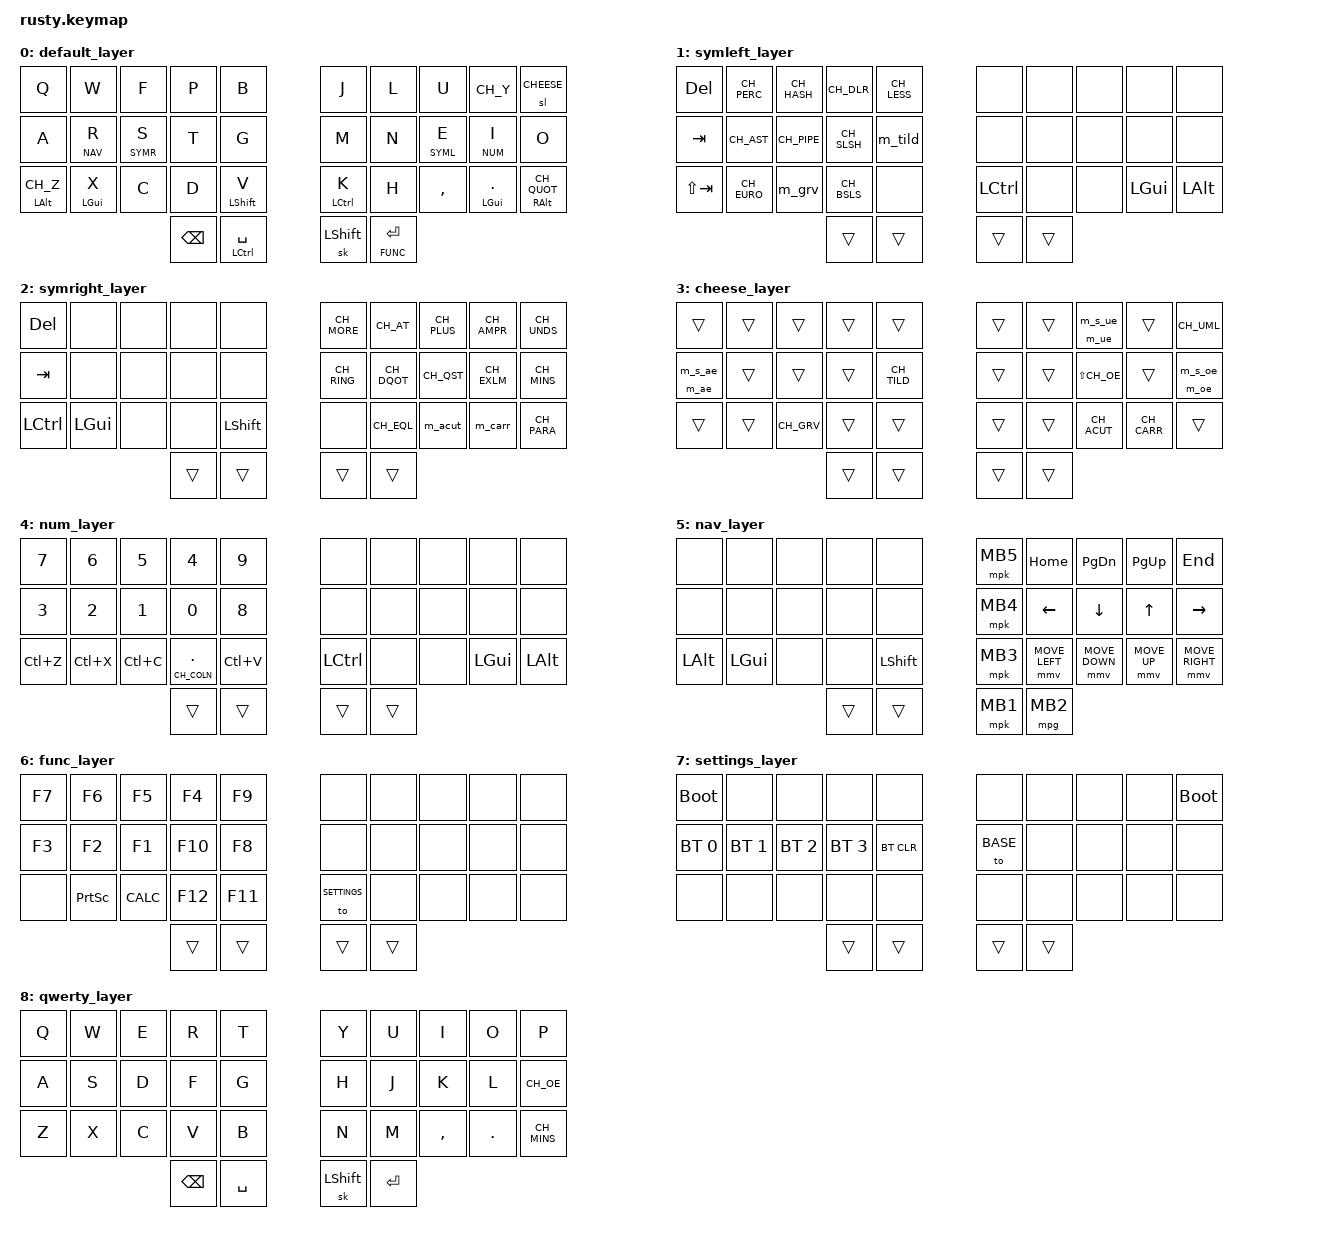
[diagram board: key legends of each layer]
/*
 * Copyright (c) 2020 The ZMK Contributors
 *
 * SPDX-License-Identifier: MIT
 */

#include <behaviors.dtsi>
#include <dt-bindings/zmk/keys.h>
#include <dt-bindings/zmk/bt.h>
#include <dt-bindings/zmk/outputs.h>
#include <dt-bindings/zmk/pointing.h>
#include "keymap_ch_de.h"

// Layer definitions
    #define BASE 0
    #define SYML 1
    #define SYMR 2
    #define CHEESE 3
    #define NUM 4
    #define NAV 5
    #define FUNC 6
    #define SETTINGS 7
    #define QWERTY 8
// -----------------

// Helper Aliases for formatting
#define ____ &trans
#define xxxx &none

&mt {
	flavor = "tap-preferred";
	tapping_term_ms = <225>;
};

&lt {
	flavor = "balanced";
	tapping_term_ms = <175>;
};

&sk {
	release-after-ms = <400>;
	quick-release;
};

/ {
	macros {
		ZMK_MACRO(m_carr,
			wait-ms = <30>;
			tap-ms = <40>;
			bindings = <&kp CH_CARR &kp SPACE>;
		)
		ZMK_MACRO(m_grv,
			wait-ms = <30>;
			tap-ms = <40>;
			bindings = <&kp CH_GRV &kp SPACE>;
		)
		ZMK_MACRO(m_acut,
			wait-ms = <30>;
			tap-ms = <40>;
			bindings = <&kp CH_ACUT &kp CH_ACUT>;
		)
		ZMK_MACRO(m_tild,
			wait-ms = <30>;
			tap-ms = <40>;
			bindings = <&kp CH_TILD &kp SPACE>;
		)
		ZMK_MACRO(m_s_oe,
			wait-ms = <30>;
			tap-ms = <40>;
			bindings = <&kp CH_OE>;
		)
		ZMK_MACRO(m_s_ue,
			wait-ms = <30>;
			tap-ms = <40>;
			bindings = <&kp CH_UE>;
		)
		ZMK_MACRO(m_s_ae,
			wait-ms = <30>;
			tap-ms = <40>;
			bindings = <&kp CH_AE>;
		)
		ZMK_MACRO(m_ue,
			wait-ms = <30>;
			tap-ms = <40>;
			bindings = <&kp CH_UML &kp LS(U)>;
		)
		ZMK_MACRO(m_oe,
			wait-ms = <30>;
			tap-ms = <40>;
			bindings = <&kp CH_UML &kp LS(O)>;
		)
		ZMK_MACRO(m_ae,
			wait-ms = <30>;
			tap-ms = <40>;
			bindings = <&kp CH_UML &kp LS(A)>;
		)
	};
	combos {
		compatible = "zmk,combos";
		combo_esc {
			timeout-ms = <75>;
			key-positions = <0 10>;
			bindings = <&kp ESC>;
		};
		combo_lprn {
			timeout-ms = <50>;
			key-positions = <2 12>;
			bindings = <&kp CH_LPRN>;
		};
		combo_rprn {
			timeout-ms = <50>;
			key-positions = <7 17>;
			bindings = <&kp CH_RPRN>;
		};
		combo_lbrc {
			timeout-ms = <50>;
			key-positions = <3 13>;
			bindings = <&kp CH_LBRC>;
		};
		combo_rbrc {
			timeout-ms = <50>;
			key-positions = <6 16>;
			bindings = <&kp CH_RBRC>;
		};
		combo_lcbr {
			timeout-ms = <50>;
			key-positions = <1 11>;
			bindings = <&kp CH_LCBR>;
		};
		combo_rcbr {
			timeout-ms = <50>;
			key-positions = <8 18>;
			bindings = <&kp CH_RCBR>;
		};
		combo_more {
			timeout-ms = <75>;
			key-positions = <5 15>;
			bindings = <&kp CH_MORE>;
		};
		combo_less {
			timeout-ms = <75>;
			key-positions = <4 14>;
			bindings = <&kp CH_LESS>;
		};
		combo_scln {
			timeout-ms = <75>;
			key-positions = <17 27>;
			bindings = <&kp CH_SCLN>;
		};
		combo_coln {
			timeout-ms = <75>;
			key-positions = <18 28>;
			bindings = <&kp CH_COLN>;
		};
		combo_qbspc {
			timeout-ms = <100>;
			key-positions = <30 31>;
			bindings = <&kp LC(BSPC)>;
		};
		combo_qwerty {
			timeout-ms = <100>;
			key-positions = <0 9>;
			bindings = <&to QWERTY>;
		};
		combo_home {
			timeout-ms = <100>;
			key-positions = <20 29>;
			bindings = <&to BASE>;
		};
	};
	behaviors {	
		rp: right_hand_positional_hold_layer {
			compatible = "zmk,behavior-hold-tap";
			label = "RIGHT_POSITIONAL_HOLD_LAYER";
			#binding-cells = <2>;
			flavor = "balanced";
			tapping-term-ms = <150>;
			quick-tap-ms = <150>;
			bindings = <&mo>, <&kp>;
			hold-trigger-key-positions = <0  1  2  3  4  5  6  7  8  9
						                 10 11 12 13 14 15
						                 20 21 22 23 24 25 26 27 28 29>;
		};
		lp: left_hand_positional_hold_layer {
			compatible = "zmk,behavior-hold-tap";
			label = "LEFT_POSITIONAL_HOLD_LAYER";
			#binding-cells = <2>;
			flavor = "balanced";
			tapping-term-ms = <150>;
			quick-tap-ms = <150>;
			bindings = <&mo>, <&kp>;
			hold-trigger-key-positions = <0  1  2  3  4  5  6  7  8  9
							                         14 15 16 17 18 19
						                 20 21 22 23 24 25 26 27 28 29>;
		};
		mt_oe: mod_tap_oe {
			compatible = "zmk,behavior-hold-tap";
			label = "MOD_TAP_OE";
			#binding-cells = <2>;
			flavor = "balanced";
			tapping-term-ms = <150>;
			bindings = <&m_oe>, <&m_s_oe>;
		};
        mt_ue: mod_tap_ue {
			compatible = "zmk,behavior-hold-tap";
			label = "MOD_TAP_UE";
			#binding-cells = <2>;
			flavor = "balanced";
			tapping-term-ms = <150>;
			bindings = <&m_ue>, <&m_s_ue>;
		};
        mt_ae: mod_tap_ae {
			compatible = "zmk,behavior-hold-tap";
			label = "MOD_TAP_AE";
			#binding-cells = <2>;
			flavor = "balanced";
			tapping-term-ms = <150>;
			bindings = <&m_ae>, <&m_s_ae>;
		};
	};
    keymap {
            compatible = "zmk,keymap";

        // Base alpha layer
       		default_layer {
		bindings = <
		&kp Q          &kp W       &kp F       &kp P  &kp B              &kp J        &kp L  &kp U       &kp CH_Y       &sl CHEESE 
		&kp A          &lp NAV R   &lp SYMR S  &kp T  &kp G              &kp M        &kp N  &rp SYML E  &rp NUM I      &kp O
		&mt LALT CH_Z  &mt LGUI X  &kp C       &kp D  &mt LSHFT V        &mt LCTRL K  &kp H  &kp COMMA   &mt LGUI DOT   &mt RALT CH_QUOT
                                            &kp BSPC  &mt LCTRL SPACE    &sk LSHFT    &lt FUNC ENTER
		>;
		};

        // Left Symbol Layer
       		symleft_layer {
		bindings = <
		&kp DEL      &kp CH_PERC  &kp CH_HASH  &kp CH_DLR   &kp CH_LESS    xxxx       xxxx  xxxx  xxxx       xxxx
		&kp TAB      &kp CH_AST   &kp CH_PIPE  &kp CH_SLSH  &m_tild        xxxx       xxxx  xxxx  xxxx       xxxx
		&kp LS(TAB)  &kp CH_EURO  &m_grv       &kp CH_BSLS  xxxx           &kp LCTRL  xxxx  xxxx  &kp LGUI  &kp LALT
					               ____         ____           ____       ____
		>;
		};

        // Right Symbol Layer
		    symright_layer {
		bindings = <
		&kp DEL      xxxx      xxxx  xxxx  xxxx         &kp CH_MORE  &kp CH_AT    &kp CH_PLUS  &kp CH_AMPR  &kp CH_UNDS
		&kp TAB      xxxx      xxxx  xxxx  xxxx         &kp CH_RING  &kp CH_DQOT  &kp CH_QST   &kp CH_EXLM  &kp CH_MINS
		&kp LCTRL    &kp LGUI  xxxx  xxxx  &kp LSHFT    xxxx         &kp CH_EQL   &m_acut      &m_carr      &kp CH_PARA
		                             ____  ____         ____  ____
		>;
		};

        // Swiss Special Symbol Layer
		    cheese_layer {
		bindings = <
		____        ____  ____        ____  ____             ____  ____  &mt_ue 0 0     ____         &kp CH_UML
		&mt_ae 0 0  ____  ____        ____  &kp CH_TILD      ____  ____  &kp LS(CH_OE)  ____         &mt_oe 0 0
		____        ____  &kp CH_GRV  ____  ____             ____  ____  &kp CH_ACUT    &kp CH_CARR  ____
		                              ____  ____             ____  ____
		>;
		};

        // Numbers (Left Hand)
       		num_layer {
		bindings = <
		&kp N7     &kp N6     &kp N5     &kp N4           &kp N9       xxxx       xxxx  xxxx  xxxx      xxxx
		&kp N3     &kp N2     &kp N1     &kp N0           &kp N8       xxxx       xxxx  xxxx  xxxx      xxxx
		&kp LC(Z)  &kp LC(X)  &kp LC(C)  &mt CH_COLN DOT  &kp LC(V)    &kp LCTRL  xxxx  xxxx  &kp LGUI  &kp LALT
          				                 ____             ____         ____       ____
		>;
		};
        // Navigation (Right Hand)
       		nav_layer {
		bindings = <
		xxxx      xxxx      xxxx  xxxx  xxxx         &mpk MB5  &kp HOME        &kp PG_DN       &kp PG_UP     &kp END
		xxxx      xxxx      xxxx  xxxx  xxxx         &mpk MB4  &kp LEFT        &kp DOWN        &kp UP        &kp RIGHT
		&kp LALT  &kp LGUI  xxxx  xxxx  &kp LSHFT    &mpk MB3  &mmv MOVE_LEFT  &mmv MOVE_DOWN  &mmv MOVE_UP  &mmv MOVE_RIGHT
          	                            ____  ____   &mpk MB1  &mpg MB2
		>;
		};
        // Function Keys
       		func_layer {
		bindings = <
		&kp F7  &kp F6     &kp F5      &kp F4   &kp F9     xxxx          xxxx  xxxx  xxxx  xxxx
		&kp F3  &kp F2     &kp F1      &kp F10  &kp F8     xxxx          xxxx  xxxx  xxxx  xxxx
		xxxx    &kp PSCRN  &kp K_CALC  &kp F12  &kp F11    &to SETTINGS  xxxx  xxxx  xxxx  xxxx
                                       ____     ____       ____          ____
		>;
		};

        // Used to change the keyboard's settings.
       		settings_layer {
		bindings = <
		&bootloader   xxxx          xxxx         xxxx          xxxx        xxxx      xxxx  xxxx  xxxx  &bootloader 
		&bt BT_SEL 0  &bt BT_SEL 1  &bt BT_SEL 2 &bt BT_SEL 3  &bt BT_CLR  &to BASE  xxxx  xxxx  xxxx  xxxx
		xxxx          xxxx          xxxx         xxxx          xxxx        xxxx      xxxx  xxxx  xxxx  xxxx
          				            ____         ____          ____        ____
		>;
		};
        // QWERTY Layer
       		qwerty_layer {
		bindings = <
		&kp Q  &kp W  &kp E  &kp R  &kp T           &kp Y  &kp U  &kp I      &kp O    &kp P 
		&kp A  &kp S  &kp D  &kp F  &kp G           &kp H  &kp J  &kp K      &kp L    &kp CH_OE
		&kp Z  &kp X  &kp C  &kp V  &kp B           &kp N  &kp M  &kp COMMA  &kp DOT  &kp CH_MINS
                             &kp BSPC  &kp SPACE    &sk LSHFT  &kp ENTER
		>;
		};
	};
};
